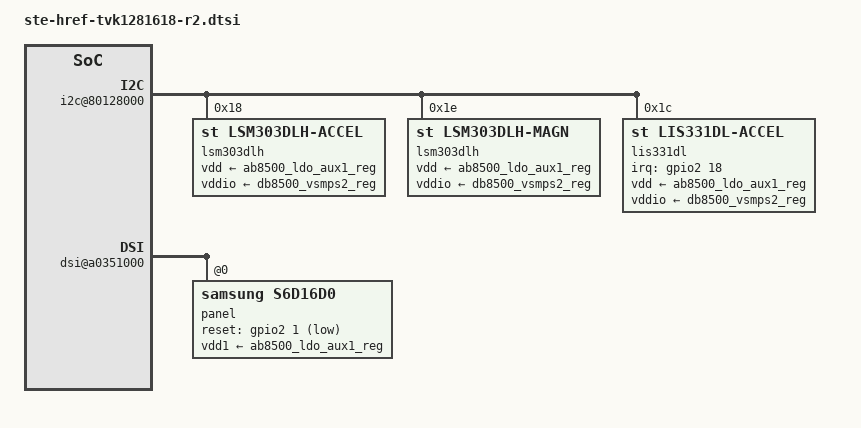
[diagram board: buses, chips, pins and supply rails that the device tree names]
// SPDX-License-Identifier: GPL-2.0-or-later
/*
 * Device Tree for the TVK1281618 R2 UIB
 */

#include "ste-href-tvk1281618.dtsi"

/ {
	soc {
		i2c@80128000 {
			lsm303dlh@18 {
				/* Accelerometer */
				compatible = "st,lsm303dlh-accel";
				st,drdy-int-pin = <1>;
				drive-open-drain;
				reg = <0x18>;
				vdd-supply = <&ab8500_ldo_aux1_reg>;
				vddio-supply = <&db8500_vsmps2_reg>;
				pinctrl-names = "default";
				pinctrl-0 = <&accel_tvk_mode>;
				/*
				 * These interrupts cannot be used: the other component
				 * ST-Micro L3D4200D gyro that is connected to the same lines
				 * cannot set its DRDY line to open drain, so it cannot be
				 * shared with other peripherals. The should be defined for
				 * the falling edge if they could be wired together.
				 *
				 * interrupts-extended =
				 * <&gpio1 0 IRQ_TYPE_EDGE_FALLING>,
				 * <&gpio2 19 IRQ_TYPE_EDGE_FALLING>;
				 */
			};
			lsm303dlh@1e {
				/* Magnetometer */
				compatible = "st,lsm303dlh-magn";
				reg = <0x1e>;
				vdd-supply = <&ab8500_ldo_aux1_reg>;
				vddio-supply = <&db8500_vsmps2_reg>;
				/*
				 * These interrupts cannot be used: the other component
				 * ST-Micro L3D4200D gyro that is connected to the same lines
				 * cannot set its DRDY line to open drain, so it cannot be
				 * shared with other peripherals. The should be defined for
				 * the falling edge if they could be wired together.
				 *
				 * interrupts-extended =
				 * <&gpio1 0 IRQ_TYPE_EDGE_FALLING>,
				 * <&gpio2 19 IRQ_TYPE_EDGE_FALLING>;
				 */
			};
			lis331dl@1c {
				/* Accelerometer */
				compatible = "st,lis331dl-accel";
				st,drdy-int-pin = <1>;
				reg = <0x1c>;
				vdd-supply = <&ab8500_ldo_aux1_reg>;
				vddio-supply = <&db8500_vsmps2_reg>;
				pinctrl-names = "default";
				pinctrl-0 = <&accel_tvk_mode>;
				interrupt-parent = <&gpio2>;
				/* INT2 would need to be open drain */
				interrupts = <18 IRQ_TYPE_EDGE_RISING>,
					     <19 IRQ_TYPE_EDGE_RISING>;
			};
		};
		mcde@a0350000 {
			status = "okay";

			dsi@a0351000 {
				panel {
					compatible = "samsung,s6d16d0";
					reg = <0>;
					vdd1-supply = <&ab8500_ldo_aux1_reg>;
					reset-gpios = <&gpio2 1 GPIO_ACTIVE_LOW>;
				};
			};
		};
	};
};
